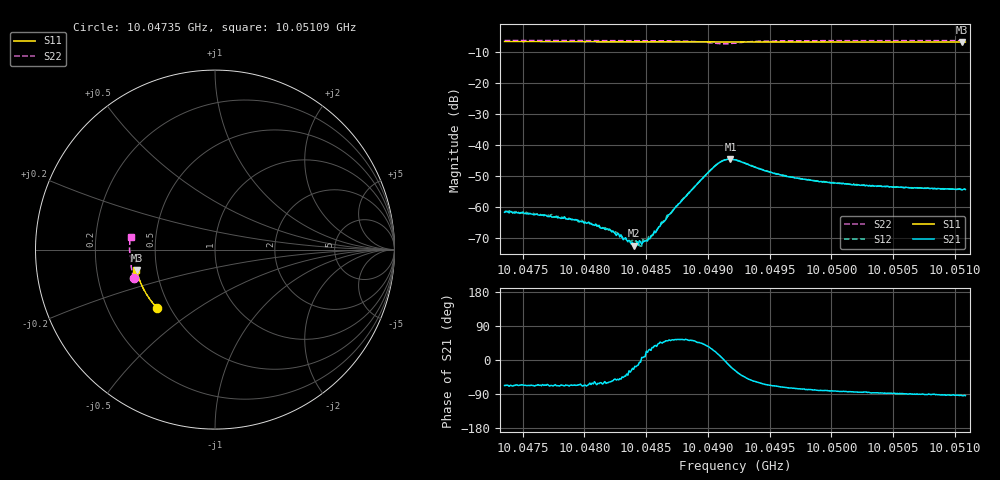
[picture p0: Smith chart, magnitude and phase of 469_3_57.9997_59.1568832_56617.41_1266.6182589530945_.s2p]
#  HZ  S  RI  R  50.00
! Rohde & Schwarz Vector Network Analyzer
! Rohde-Schwarz,ZNB20-2Port,1311601062101988,3.16
! Created: UTC 3/21/2024, 1:11:18 AM
! freq[Hz]  re:S11  im:S11  re:S21  im:S21  re:S12  im:S12  re:S22  im:S22
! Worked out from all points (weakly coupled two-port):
!   401 points, 10.04735 GHz to 10.05109 GHz, reference 50 ohm
!   highest |S21| = -44.59 dB at 10.04918 GHz (marker M1); lowest = -72.6 dB at 10.0484 GHz (marker M2)
!   lowest |S11| = -6.9 dB at 10.05106 GHz (marker M3), VSWR 2.65, Z = 19.1 - j5.59 ohm
!   |S11| at or under -10 dB: nowhere
!   |S22| runs from -7.5 to -6.4 dB; largest |S21 - S12| = 0.00043
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1.0047354e10  -0.3216 -0.3272  0.000316 -0.000754  0.000399 -0.000756  -0.4522 -0.159
1.0047672e10  -0.3358 -0.3115  0.00028 -0.000663  0.000323 -0.00067  -0.4582 -0.1381
1.0047979e10  -0.3486 -0.2959  0.000218 -0.000533  0.0003 -0.000531  -0.4631 -0.1169
1.0048213e10  -0.3581 -0.2838  0.000225 -0.000351  0.000239 -0.000349  -0.4663 -0.1003
1.0048269e10  -0.3603 -0.2809  0.000236 -0.00029  0.00028 -0.000259  -0.4666 -0.096
1.0048324e10  -0.3624 -0.2779  0.000227 -0.00021  0.00024 -0.000207  -0.4673 -0.0919
1.0048399e10  -0.3652 -0.2737  0.000215 -9.76e-05  0.00026 -8.23e-05  -0.4677 -0.086
1.0048446e10  -0.3671 -0.2713  0.000284 -3.01e-05  0.000236 1.29e-05  -0.4681 -0.0822
1.0048464e10  -0.3678 -0.2703  0.000248 2.98e-05  0.000232 2.89e-05  -0.4681 -0.0808
1.0048511e10  -0.3695 -0.2678  0.000263 9.59e-05  0.000266 0.000129  -0.4681 -0.0769
1.0048558e10  -0.3713 -0.2654  0.000297 0.000192  0.000294 0.000219  -0.4683 -0.0729
1.0048604e10  -0.3728 -0.2626  0.000346 0.000329  0.000328 0.000349  -0.4681 -0.0686
1.0048744e10  -0.378 -0.2549  0.000609 0.000828  0.000547 0.000862  -0.4663 -0.0553
1.0049024e10  -0.3873 -0.239  0.00338 0.002  0.00328 0.00225  -0.4392 -0.0294
1.0049108e10  -0.3897 -0.2343  0.0053 0.0007  0.00529 0.00107  -0.4226 -0.0393
1.0049183e10  -0.392 -0.2303  0.00564 -0.00173  0.00572 -0.00133  -0.4237 -0.0584
1.004922e10  -0.3933 -0.2283  0.00506 -0.00268  0.00525 -0.00237  -0.4305 -0.0645
1.0049537e10  -0.4032 -0.2099  0.00129 -0.0032  0.00146 -0.00317  -0.4687 -0.0439
1.0049845e10  -0.4117 -0.1915  0.000528 -0.00261  0.000681 -0.00261  -0.4748 -0.0168
1.005047e10  -0.4264 -0.1532  8.91e-05 -0.00209  0.000219 -0.00209  -0.4754 0.0295
1.0051057e10  -0.4369 -0.1163  -0.000118 -0.00187  1.46e-06 -0.00191  -0.471 0.0694
1.0051085e10  -0.4374 -0.1144  -0.000128 -0.0019  -2.12e-05 -0.00191  -0.4708 0.0713
